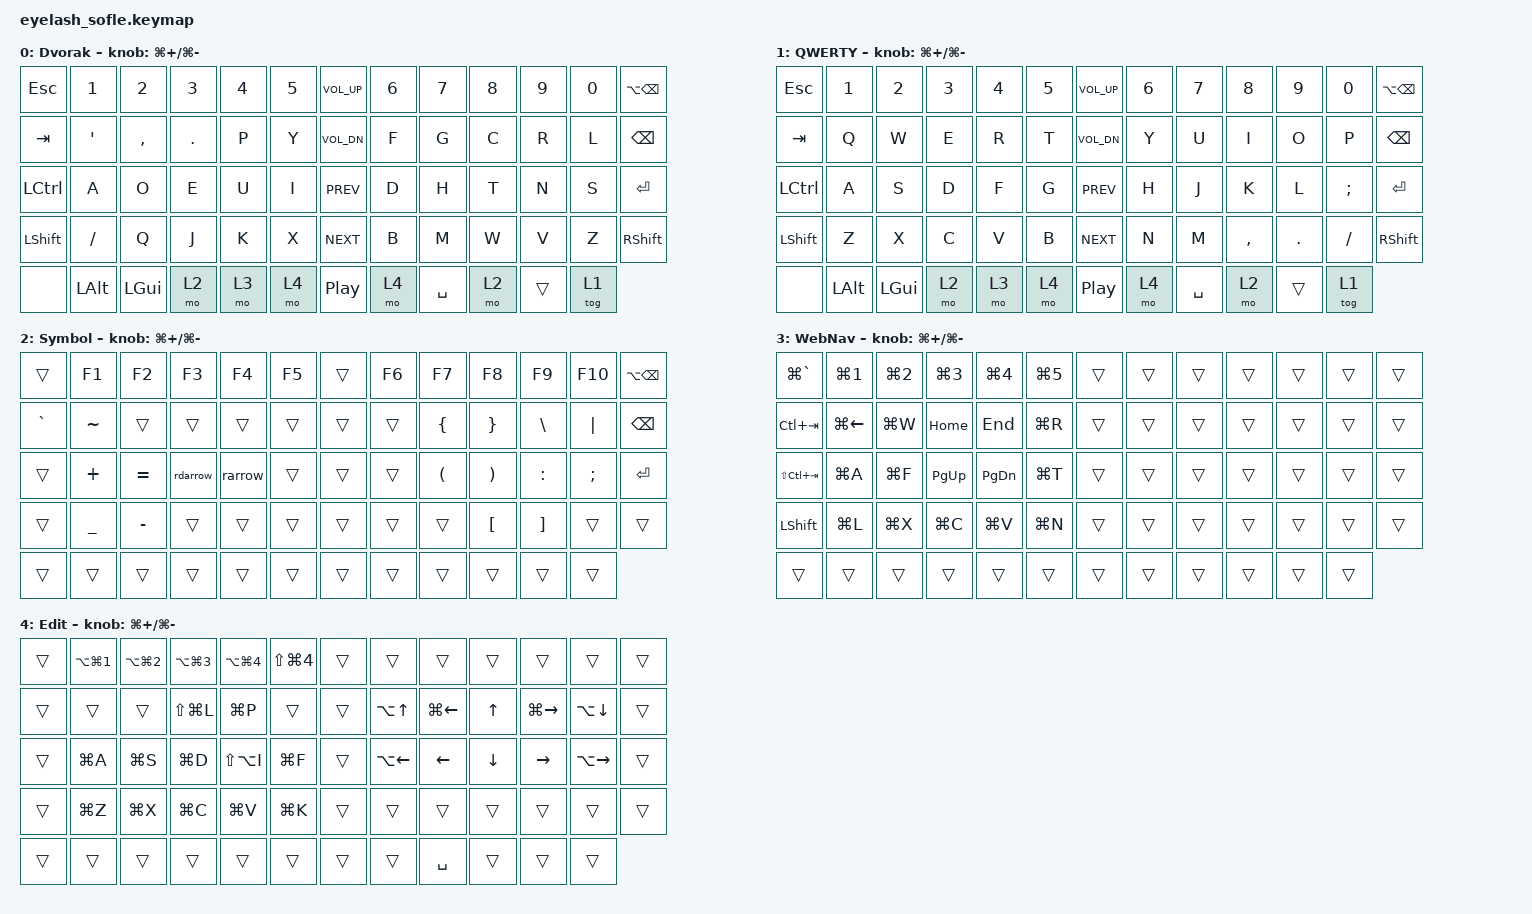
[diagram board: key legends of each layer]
#define ZMK_POINTING_DEFAULT_MOVE_VAL 1200  // 600
#define ZMK_POINTING_DEFAULT_SCRL_VAL 25   // 10

#include <input/processors.dtsi>
#include <zephyr/dt-bindings/input/input-event-codes.h>
#include <behaviors.dtsi>
#include <dt-bindings/zmk/bt.h>
#include <dt-bindings/zmk/keys.h>
#include <dt-bindings/zmk/outputs.h>
#include <dt-bindings/zmk/pointing.h>
#include <dt-bindings/zmk/rgb.h>

&mmv_input_listener { input-processors = <&zip_xy_scaler 2 1>; };

&msc_input_listener { input-processors = <&zip_scroll_scaler 2 1>; };

&msc {
    acceleration-exponent = <1>;      // 0
    time-to-max-speed-ms = <100>;       // 300
    delay-ms = <0>;                   // 0
};

&mmv {
    time-to-max-speed-ms = <500>;
    acceleration-exponent = <1>;
    trigger-period-ms = <16>;
};

&soft_off { hold-time-ms = <2000>; };

/ {
    scroll_encoder: scroll_encoder {
        compatible = "zmk,behavior-sensor-rotate";
        #sensor-binding-cells = <0>;
        bindings = <&msc SCRL_DOWN>, <&msc SCRL_UP>;

        tap-ms = <100>;
    };

    macros {
        rarrow: rarrow {
            compatible = "zmk,behavior-macro";
            #binding-cells = <0>;
            wait-ms = <30>;
            tap-ms = <30>;
            bindings = <&kp MINUS &kp GT>;
        };

        rdarrow: rdarrow {
            compatible = "zmk,behavior-macro";
            #binding-cells = <0>;
            wait-ms = <30>;
            tap-ms = <30>;
            bindings = <&kp EQUAL &kp GT>;
        };
    };

    behaviors {
    };

    combos {
        compatible = "zmk,combos";

        softoff {
            bindings = <&soft_off>;
            key-positions = <14 28 40>;
        };
    };

    keymap {
        compatible = "zmk,keymap";

        layer0 {
            bindings = <
&kp ESC      &kp N1     &kp N2     &kp N3    &kp N4    &kp N5       &kp C_VOLUME_UP  &kp N6      &kp N7        &kp N8    &kp N9    &kp N0      &kp LA(BSPC)
&kp TAB      &kp APOS   &kp COMMA  &kp DOT   &kp P     &kp Y        &kp C_VOL_DN     &kp F       &kp G         &kp C     &kp R     &kp L       &kp BSPC
&kp LCTRL    &kp A      &kp O      &kp E     &kp U     &kp I        &kp C_PREV       &kp D       &kp H         &kp T     &kp N     &kp S       &kp ENTER
&kp LSHFT    &kp FSLH   &kp Q      &kp J     &kp K     &kp X        &kp C_NEXT       &kp B       &kp M         &kp W     &kp V     &kp Z       &kp RSHFT
&none        &kp LALT   &kp LGUI   &mo 2     &mo 3     &mo 4        &kp C_PP         &mo 4       &kp SPACE     &mo 2     &trans    &tog 1
            >;

            sensor-bindings = <&inc_dec_kp LG(PLUS) LG(MINUS)>;
            display-name = "Dvorak";
        };

        layer_1 {
            bindings = <

&kp ESC      &kp N1     &kp N2     &kp N3    &kp N4    &kp N5       &kp C_VOLUME_UP  &kp N6      &kp N7        &kp N8    &kp N9    &kp N0      &kp LA(BSPC)
&kp TAB      &kp Q      &kp W      &kp E     &kp R     &kp T        &kp C_VOL_DN     &kp Y       &kp U         &kp I     &kp O     &kp P       &kp BSPC
&kp LCTRL    &kp A      &kp S      &kp D     &kp F     &kp G        &kp C_PREV       &kp H       &kp J         &kp K     &kp L     &kp SEMI    &kp ENTER
&kp LSHFT    &kp Z      &kp X      &kp C     &kp V     &kp B        &kp C_NEXT       &kp N       &kp M         &kp COMMA &kp DOT   &kp FSLH    &kp RSHFT
&none        &kp LALT   &kp LGUI   &mo 2     &mo 3     &mo 4        &kp C_PP         &mo 4       &kp SPACE     &mo 2     &trans    &tog 1

            >;

            display-name = "QWERTY";
            sensor-bindings = <&inc_dec_kp LG(PLUS) LG(MINUS)>;
        };

        layer_2 {
            bindings = <
&trans      &kp F1     &kp F2     &kp F3    &kp F4     &kp F5        &trans  &kp F6      &kp F7     &kp F8     &kp F9     &kp F10     &kp LA(BSPC)
&kp GRAVE   &kp TILDE  &trans     &trans    &trans     &trans        &trans  &trans      &kp LBRC   &kp RBRC   &kp BSLH   &kp PIPE    &kp BSPC
&trans      &kp PLUS   &kp EQUAL  &rdarrow  &rarrow    &trans        &trans  &trans      &kp LPAR   &kp RPAR   &kp COLON  &kp SEMI    &kp ENTER
&trans      &kp UNDER  &kp MINUS  &trans    &trans     &trans        &trans  &trans      &trans     &kp LBKT   &kp RBKT   &trans      &trans
&trans      &trans     &trans     &trans    &trans     &trans        &trans  &trans      &trans     &trans     &trans     &trans
            >;

            display-name = "Symbol";
            sensor-bindings = <&inc_dec_kp LG(PLUS) LG(MINUS)>;
        };

        layer_3 {
            bindings = <
&kp LG(GRAVE)     &kp LG(N1)     &kp LG(N2)  &kp LG(N3)  &kp LG(N4)  &kp LG(N5)       &trans  &trans       &trans      &trans      &trans      &trans       &trans
&kp LC(TAB)       &kp LG(LEFT)   &kp LG(W)   &kp HOME    &kp END     &kp LG(R)        &trans  &trans       &trans      &trans      &trans      &trans       &trans
&kp LS(LC(TAB))   &kp LG(A)      &kp LG(F)   &kp PG_UP   &kp PG_DN   &kp LG(T)        &trans  &trans       &trans      &trans      &trans      &trans       &trans
&kp LSHFT         &kp LG(L)      &kp LG(X)   &kp LG(C)   &kp LG(V)   &kp LG(N)        &trans  &trans       &trans      &trans      &trans      &trans       &trans
&trans            &trans         &trans      &trans      &trans      &trans           &trans  &trans       &trans      &trans      &trans      &trans
            >;

            display-name = "WebNav";
            sensor-bindings = <&inc_dec_kp LG(PLUS) LG(MINUS)>;
        };

        layer_4 {
            bindings = <
&trans       &kp LA(LG(N1))  &kp LA(LG(N2))  &kp LA(LG(N3))   &kp LA(LG(N4))    &kp LS(LG(N4))       &trans  &trans           &trans       &trans       &trans           &trans           &trans
&trans       &trans          &trans          &kp LS(LG(L))    &kp LG(P)         &trans               &trans  &kp LA(UP)       &kp LG(LEFT) &kp UP       &kp LG(RIGHT)    &kp LA(DOWN)     &trans
&trans       &kp LG(A)       &kp LG(S)       &kp LG(D)        &kp LS(LA(I))     &kp LG(F)            &trans  &kp LA(LEFT)     &kp LEFT     &kp DOWN     &kp RIGHT        &kp LA(RIGHT)    &trans
&trans       &kp LG(Z)       &kp LG(X)       &kp LG(C)        &kp LG(V)         &kp LG(K)            &trans  &trans           &trans       &trans       &trans           &trans           &trans
&trans       &trans          &trans          &trans           &trans            &trans               &trans  &trans           &kp SPACE    &trans       &trans           &trans
            >;
         display-name = "Edit";
            sensor-bindings = <&inc_dec_kp LG(PLUS) LG(MINUS)>;
        };
    };
};
